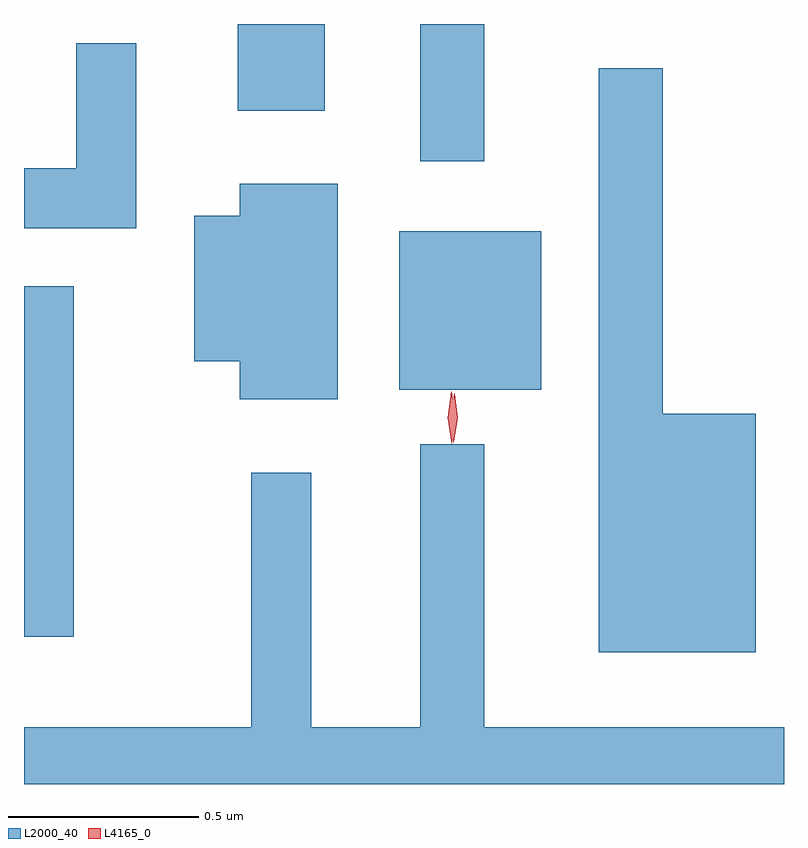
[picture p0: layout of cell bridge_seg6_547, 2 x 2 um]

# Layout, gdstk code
import gdstk
lib = gdstk.Library(unit=1e-6, precision=1e-09)
def R(c, l, rs):  # rectangles x0, y0, x1, y1
    for r in rs: c.add(gdstk.rectangle(r[:2], r[2:], *l))
def P(c, l, *ps):  # polygons
    for p in ps: c.add(gdstk.Polygon(p, *l))
L2000_40 = (2000, 40)
L4165_0 = (4165, 0)

bridge_seg6_547 = lib.new_cell('bridge_seg6_547')
R(bridge_seg6_547, L2000_40, [(552.488,1665.981,552.619,1666.904), (553.476,1666.631,553.849,1667.049), (553.531,1667.233,553.699,1667.594), (553.051,1667.366,553.279,1667.594)])
P(bridge_seg6_547, L2000_40, [(552.784,1667.543),(552.626,1667.543),(552.626,1667.214),(552.488,1667.214),(552.488,1667.056),(552.784,1667.056)],
  [(554.414,1666.569),(554.169,1666.569),(554.169,1667.478),(554.001,1667.478),(554.001,1665.941),(554.414,1665.941)],
  [(553.314,1667.174),(553.056,1667.174),(553.056,1667.089),(552.936,1667.089),(552.936,1666.706),(553.056,1666.706),(553.056,1666.606),(553.314,1666.606)],
  [(554.488,1665.744),(553.699,1665.744),(553.699,1666.488),(553.531,1666.488),(553.531,1665.744),(553.244,1665.744),(553.244,1666.413),(553.086,1666.413),(553.086,1665.744),(552.488,1665.744),(552.488,1665.594),(554.488,1665.594)])
P(bridge_seg6_547, L4165_0, [(553.613,1666.49),(553.603,1666.558),(553.612,1666.626),(553.612,1666.626),(553.613,1666.626),(553.623,1666.558),(553.614,1666.49),(553.614,1666.49)],
  [(553.618,1666.493),(553.618,1666.493),(553.61,1666.558),(553.62,1666.621),(553.621,1666.622),(553.621,1666.621),(553.63,1666.557),(553.619,1666.493)])

lib.write_gds('bridge_seg6_547.gds')
